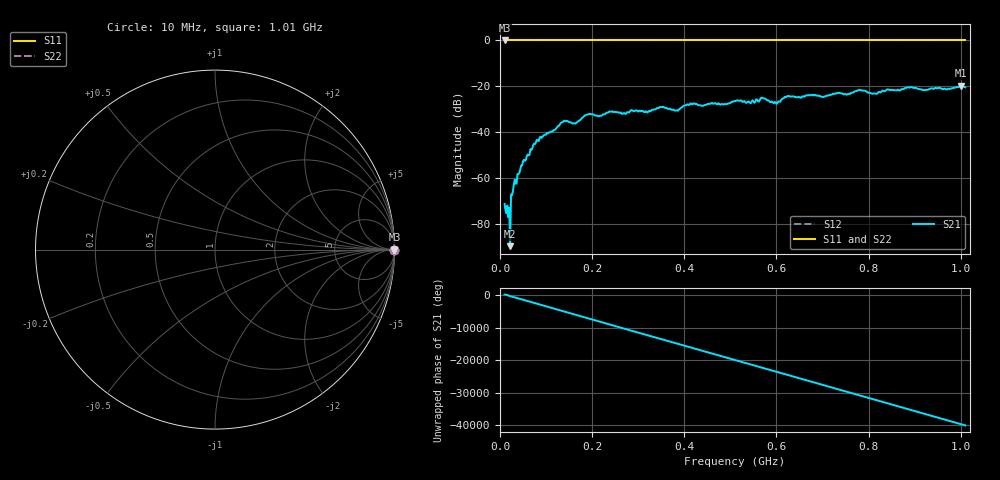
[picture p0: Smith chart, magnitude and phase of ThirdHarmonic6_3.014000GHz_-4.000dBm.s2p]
! 8/17/2025 8:39:11 AM
! C:\ANRITSUVNA\TEMP\TEMP.S2P
! CHANNEL.1
! TR.MEASUREMENT
! RAW.DATA
! RF.CORRECTION.OFF
! AVERAGING.OFF
! IF.BANDWIDTH: 5KHZ
! SWEEPTYPE:  FREQ.SWEEP(Linear)
! Reference Plane Port Info
! PORT:  PORT1  PORT2
! DISTANCE:  0  m  0  m
! TIME:  0  s  0  s
! PHASE.OFFSET:  0  deg.  0  deg.
! LOSS:  0  dB  0  dB
! REF.LOSS:  0  dB  0  dB
! REF.FREQ:  0  Hz  0  Hz
! Power Info
! POWER:  -20  dBm  -20  dBm
! EFF.POWER:  -20  dBm  -20  dBm
! SOURCE.ATTEN:  0  dB  0  dB
! TEST.ATTEN:  0  dB  0  dB
# GHZ S RI R 50.0
! FREQ.GHZ  S11RE  S11IM  S21RE  S21IM  S12RE  S12IM  S22RE  S22IM
!; PortSelection: Port_12
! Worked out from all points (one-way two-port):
!   501 points, 10 MHz to 1.01 GHz, reference 50 ohm
!   highest |S21| = -19.73 dB at 1 GHz (marker M1); lowest = -89.7 dB at 22 MHz (marker M2)
!   lowest |S11| = 0.0 dB at 10 MHz (marker M3)
!   |S11| at or under -10 dB: nowhere
!   |S22| runs from 0.0 to 0.0 dB; largest |S21 - S12| = 1.1
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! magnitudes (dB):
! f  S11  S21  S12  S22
! 10 MHz  0.0  -71.3  0.0  0.0
! 18 MHz  0.0  -77.0  0.0  0.0
! 22 MHz  0.0  -89.7  0.0  0.0
! 28 MHz  0.0  -65.8  0.0  0.0
! 42 MHz  0.0  -57.8  0.0  0.0
! 76 MHz  0.0  -45.2  0.0  0.0
! 136 MHz  0.0  -35.6  0.0  0.0
! 162 MHz  0.0  -36.1  0.0  0.0
! 178 MHz  0.0  -33.7  0.0  0.0
! 192 MHz  0.0  -32.2  0.0  0.0
! 318 MHz  0.0  -31.2  0.0  0.0
! 344 MHz  0.0  -29.5  0.0  0.0
! 384 MHz  0.0  -30.5  0.0  0.0
! 416 MHz  0.0  -27.7  0.0  0.0
! 510 MHz  0.0  -26.5  0.0  0.0
! 570 MHz  0.0  -25.0  0.0  0.0
! 598 MHz  0.0  -27.1  0.0  0.0
! 622 MHz  0.0  -24.5  0.0  0.0
! 678 MHz  0.0  -23.7  0.0  0.0
! 844 MHz  0.0  -21.5  0.0  0.0
! 1 GHz  0.0  -19.7  0.0  0.0
! 1.01 GHz  0.0  -20.4  0.0  0.0
